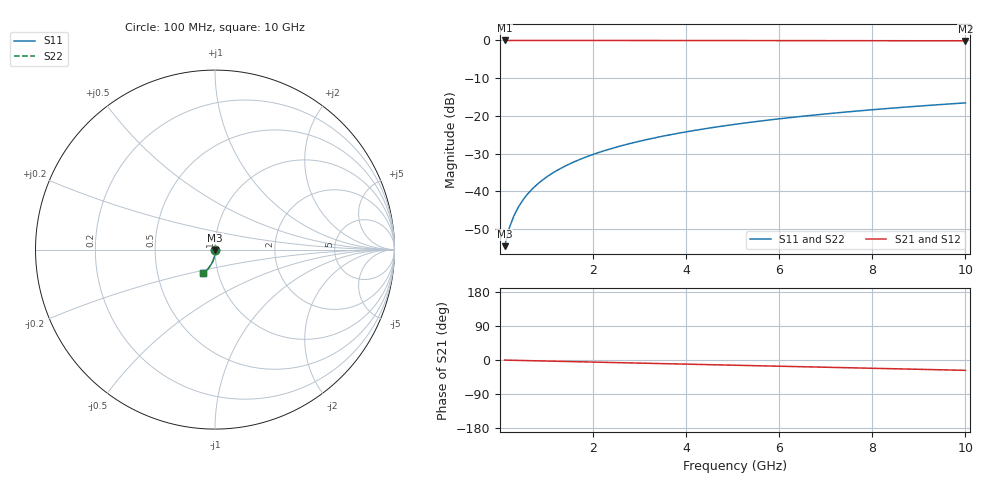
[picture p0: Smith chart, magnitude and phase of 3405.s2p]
# Hz S RI R 50.00
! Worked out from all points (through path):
!   100 points, 100 MHz to 10 GHz, reference 50 ohm
!   highest |S21| = -0.01 dB at 100 MHz (marker M1); lowest = -0.1 dB at 10 GHz (marker M2)
!   group delay of S21, straight-line fit = 7.58 ps
!   lowest |S11| = -54.5 dB at 100 MHz (marker M3), VSWR 1.00, Z = 50.1 - j0.155 ohm
!   |S11| at or under -10 dB: start of sweep to end of sweep
!   |S22| runs from -54.5 to -16.6 dB; largest |S21 - S12| = 0
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1e8  0.00107 -0.00155  0.9989 -0.00476  0.9989 -0.00476  0.00107 -0.00155
2e8  0.00105 -0.0031  0.9989 -0.00953  0.9989 -0.00953  0.00105 -0.0031
3e8  0.00102 -0.00465  0.9988 -0.0143  0.9988 -0.0143  0.00102 -0.00465
4e8  0.000967 -0.0062  0.9987 -0.0191  0.9987 -0.0191  0.000967 -0.0062
5e8  0.000901 -0.00775  0.9986 -0.0238  0.9986 -0.0238  0.000901 -0.00775
6e8  0.000821 -0.00929  0.9984 -0.0286  0.9984 -0.0286  0.000821 -0.00929
7e8  0.000725 -0.0108  0.9983 -0.0333  0.9983 -0.0333  0.000725 -0.0108
8e8  0.000614 -0.0124  0.9981 -0.0381  0.9981 -0.0381  0.000614 -0.0124
9e8  0.000488 -0.0139  0.9978 -0.0429  0.9978 -0.0429  0.000488 -0.0139
1.1e9  0.000192 -0.017  0.9973 -0.0524  0.9973 -0.0524  0.000192 -0.017
1.4e9  -0.000363 -0.0216  0.9964 -0.0666  0.9964 -0.0666  -0.000363 -0.0216
1.8e9  -0.00131 -0.0278  0.9947 -0.0856  0.9947 -0.0856  -0.00131 -0.0278
2.1e9  -0.00217 -0.0323  0.9933 -0.0998  0.9933 -0.0998  -0.00217 -0.0323
2.5e9  -0.00353 -0.0384  0.9909 -0.1188  0.9909 -0.1188  -0.00353 -0.0384
2.9e9  -0.00511 -0.0444  0.9882 -0.1376  0.9882 -0.1376  -0.00511 -0.0444
3.4e9  -0.00741 -0.0518  0.9843 -0.1611  0.9843 -0.1611  -0.00741 -0.0518
4.2e9  -0.0118 -0.0634  0.9767 -0.1984  0.9767 -0.1984  -0.0118 -0.0634
5.1e9  -0.0178 -0.0761  0.9663 -0.2398  0.9663 -0.2398  -0.0178 -0.0761
5.9e9  -0.024 -0.0868  0.9554 -0.2762  0.9554 -0.2762  -0.024 -0.0868
6.7e9  -0.031 -0.097  0.9431 -0.312  0.9431 -0.312  -0.031 -0.097
8.4e9  -0.0484 -0.1168  0.9122 -0.3859  0.9122 -0.3859  -0.0484 -0.1168
1e10  -0.0673 -0.1326  0.8775 -0.4524  0.8775 -0.4524  -0.0673 -0.1326
